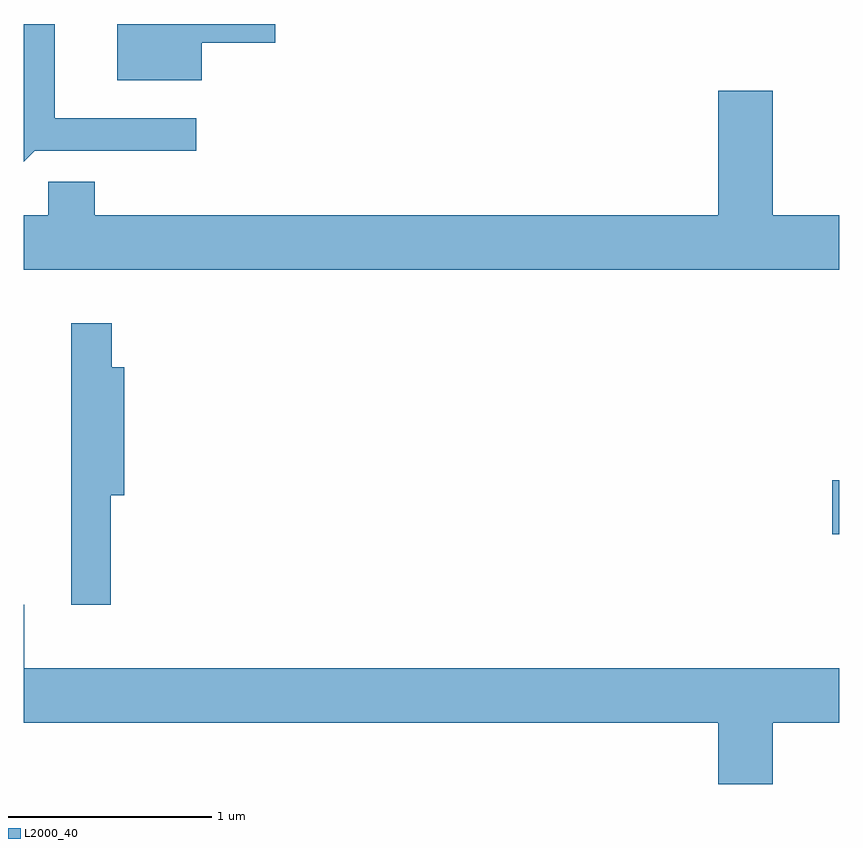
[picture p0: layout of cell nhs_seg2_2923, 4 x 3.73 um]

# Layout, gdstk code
import gdstk
lib = gdstk.Library(unit=1e-6, precision=1e-09)
def R(c, l, rs):  # rectangles x0, y0, x1, y1
    for r in rs: c.add(gdstk.rectangle(r[:2], r[2:], *l))
def P(c, l, *ps):  # polygons
    for p in ps: c.add(gdstk.Polygon(p, *l))
L2000_40 = (2000, 40)

nhs_seg2_2923 = lib.new_cell('nhs_seg2_2923')
R(nhs_seg2_2923, L2000_40, [(275.576,989.301,275.611,989.564)])
P(nhs_seg2_2923, L2000_40, [(271.667,991.181),(272.458,991.181),(272.458,991.339),(271.764,991.339),(271.764,991.802),(271.611,991.802),(271.611,991.126),(271.612,991.126)],
  [(272.484,991.711),(272.844,991.711),(272.844,991.802),(272.071,991.802),(272.071,991.526),(272.484,991.526)],
  [(275.611,990.864),(275.284,990.864),(275.284,991.474),(275.016,991.474),(275.016,990.864),(271.959,990.864),(271.959,991.029),(271.731,991.029),(271.731,990.864),(271.611,990.864),(271.611,990.596),(275.611,990.596)],
  [(272.039,989.491),(272.104,989.491),(272.104,990.119),(272.044,990.119),(272.044,990.334),(271.846,990.334),(271.846,988.956),(272.039,988.956)],
  [(275.284,988.376),(275.611,988.376),(275.611,988.644),(271.614,988.644),(271.614,988.954),(271.611,988.954),(271.611,988.376),(275.016,988.376),(275.016,988.076),(275.284,988.076)])

lib.write_gds('nhs_seg2_2923.gds')
